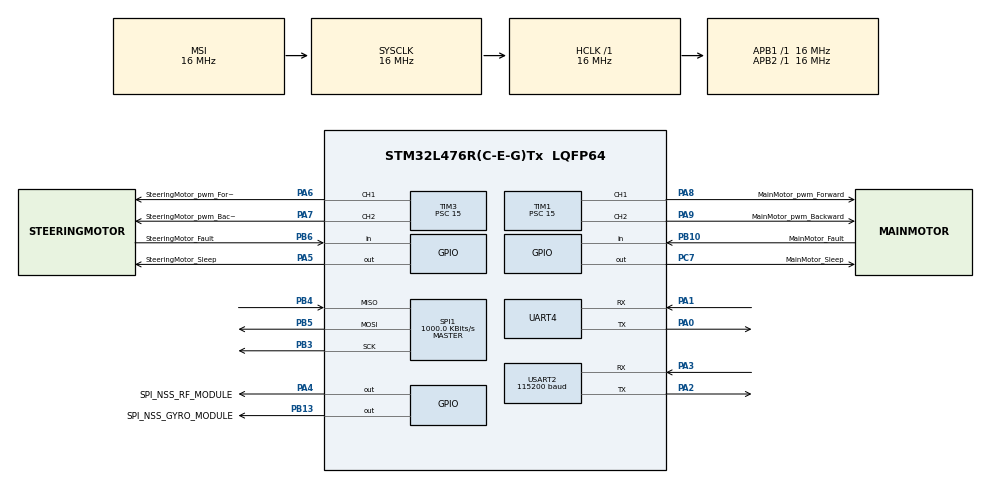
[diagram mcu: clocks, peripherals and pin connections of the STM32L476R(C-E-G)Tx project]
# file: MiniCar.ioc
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Mcu.Family=STM32L4
Mcu.Name=STM32L476R(C-E-G)Tx
Mcu.Package=LQFP64
NVIC.PriorityGroup=NVIC_PRIORITYGROUP_4
NVIC.SPI1_IRQn=true\:0\:0\:false\:false\:true\:true\:true\:true
NVIC.TIM2_IRQn=true\:0\:0\:false\:false\:true\:true\:true\:true
PA0.Mode=Asynchronous
PA0.Signal=UART4_TX
PA1.Mode=Asynchronous
PA1.Signal=UART4_RX
PA2.Mode=Asynchronous
PA2.Signal=USART2_TX
PA3.Mode=Asynchronous
PA3.Signal=USART2_RX
PA4.GPIO_Label=SPI_NSS_RF_MODULE
PA4.PinState=GPIO_PIN_SET
PA4.Signal=GPIO_Output
PA5.GPIO_Label=SteeringMotor_Sleep
PA5.Signal=GPIO_Output
PA6.GPIO_Label=SteeringMotor_pwm_Forward
PA6.Signal=S_TIM3_CH1
PA7.GPIO_Label=SteeringMotor_pwm_Backward
PA7.Signal=S_TIM3_CH2
PA8.GPIO_Label=MainMotor_pwm_Forward
PA8.Signal=S_TIM1_CH1
PA9.GPIO_Label=MainMotor_pwm_Backward
PA9.Signal=S_TIM1_CH2
PB10.GPIO_Label=MainMotor_Fault
PB10.Signal=GPIO_Input
PB13.GPIO_Label=SPI_NSS_GYRO_MODULE
PB13.PinState=GPIO_PIN_SET
PB13.Signal=GPIO_Output
PB3\ (JTDO-TRACESWO).GPIO_PuPd=GPIO_NOPULL
PB3\ (JTDO-TRACESWO).Mode=Full_Duplex_Master
PB3\ (JTDO-TRACESWO).Signal=SPI1_SCK
PB4\ (NJTRST).Mode=Full_Duplex_Master
PB4\ (NJTRST).Signal=SPI1_MISO
PB5.Mode=Full_Duplex_Master
PB5.Signal=SPI1_MOSI
PB6.GPIO_Label=SteeringMotor_Fault
PB6.Signal=GPIO_Input
PC7.GPIO_Label=MainMotor_Sleep
PC7.Signal=GPIO_Output
ProjectManager.HeapSize=0x200
ProjectManager.StackSize=0x400
ProjectManager.TargetToolchain=STM32CubeIDE
RCC.ADCFreq_Value=64000000
RCC.AHBFreq_Value=16000000
RCC.APB1Freq_Value=16000000
RCC.APB1TimFreq_Value=16000000
RCC.APB2Freq_Value=16000000
RCC.APB2TimFreq_Value=16000000
RCC.CortexFreq_Value=16000000
RCC.HCLKFreq_Value=16000000
RCC.HSE_VALUE=8000000
RCC.HSI_VALUE=16000000
RCC.LSE_VALUE=32768
RCC.MSIClockRange=RCC_MSIRANGE_8
RCC.MSI_VALUE=16000000
RCC.SYSCLKFreq_VALUE=16000000
RCC.USBFreq_Value=64000000
RCC.VCOOutputFreq_Value=128000000
SH.S_TIM1_CH1.0=TIM1_CH1,PWM Generation1 CH1
SH.S_TIM1_CH2.0=TIM1_CH2,PWM Generation2 CH2
SH.S_TIM3_CH1.0=TIM3_CH1,PWM Generation1 CH1
SH.S_TIM3_CH2.0=TIM3_CH2,PWM Generation2 CH2
SPI1.BaudRatePrescaler=SPI_BAUDRATEPRESCALER_16
SPI1.CalculateBaudRate=1000.0 KBits/s
SPI1.DataSize=SPI_DATASIZE_8BIT
SPI1.Direction=SPI_DIRECTION_2LINES
SPI1.Mode=SPI_MODE_MASTER
SPI1.NSSPMode=SPI_NSS_PULSE_DISABLE
SPI1.TIMode=SPI_TIMODE_DISABLE
SPI1.VirtualType=VM_MASTER
TIM1.Channel-PWM\ Generation1\ CH1=TIM_CHANNEL_1
TIM1.Channel-PWM\ Generation2\ CH2=TIM_CHANNEL_2
TIM1.ClockDivision=TIM_CLOCKDIVISION_DIV1
TIM1.Period=100
TIM1.Prescaler=15
TIM2.ClockDivision=TIM_CLOCKDIVISION_DIV1
TIM2.Period=999
TIM2.Prescaler=63
TIM3.Channel-PWM\ Generation1\ CH1=TIM_CHANNEL_1
TIM3.Channel-PWM\ Generation2\ CH2=TIM_CHANNEL_2
TIM3.Period=100
TIM3.Prescaler=15
USART2.BaudRate=115200
USART2.VirtualMode-Asynchronous=VM_ASYNC
VP_CRC_VS_CRC.Mode=CRC_Activate
VP_TIM1_VS_ClockSourceINT.Mode=Internal
VP_TIM2_VS_ClockSourceINT.Mode=Internal
VP_TIM3_VS_ClockSourceINT.Mode=Internal
board=custom

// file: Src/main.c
/* USER CODE BEGIN Header */
/**
  ******************************************************************************
  * @file           : main.c
  * @brief          : Main program body
  ******************************************************************************
  * @attention
  *
  * Copyright (c) 2023 STMicroelectronics.
  * All rights reserved.
  *
  * This software is licensed under terms that can be found in the LICENSE file
  * in the root directory of this software component.
  * If no LICENSE file comes with this software, it is provided AS-IS.
  *
  ******************************************************************************
  */
/* USER CODE END Header */
#include "main.h"

/* USER CODE BEGIN Includes */
#include <nRF24l01_Handler.h>
#include "SPI_Handler.h"
#include "ioManager.h"
#include "MotorController.h"
#include "MPU_Handler.h"
#include "MotionProcessing.h"
/* USER CODE END Includes */

/* USER CODE BEGIN PD */

#define FALSE 0u
#define TRUE  1u
/* USER CODE END PD */

CRC_HandleTypeDef hcrc;

SPI_HandleTypeDef hspi1;

TIM_HandleTypeDef htim1;
TIM_HandleTypeDef htim2;
TIM_HandleTypeDef htim3;

UART_HandleTypeDef huart4;
UART_HandleTypeDef huart2;

void SystemClock_Config(void);
static void MX_GPIO_Init(void);
static void MX_TIM1_Init(void);
static void MX_TIM3_Init(void);
static void MX_CRC_Init(void);
static void MX_SPI1_Init(void);
static void MX_UART4_Init(void);
static void MX_TIM2_Init(void);
static void MX_USART2_UART_Init(void);

/* USER CODE BEGIN 0 */
uint16_t counter = 160;
uint8_t transmit_data = 0;
uint8_t receiveLen = 0;
volatile uint8_t receive_IT_flag = 0;
volatile uint8_t transmit_IT_flag = 0;
/* USER CODE END 0 */

int main(void)
{

  /* MCU Configuration--------------------------------------------------------*/

  /* Reset of all peripherals, Initializes the Flash interface and the Systick. */
  HAL_Init();

  /* USER CODE BEGIN Init */
  //HAL_GPIO_WritePin(NSS_REGISTER, NSS_PIN, SET);

  /* USER CODE END Init */

  /* Configure the system clock */
  SystemClock_Config();

  /* Initialize all configured peripherals */
  MX_GPIO_Init();
  MX_TIM1_Init();
  MX_TIM3_Init();
  MX_CRC_Init();
  MX_SPI1_Init();
  MX_UART4_Init();
  MX_TIM2_Init();
  MX_USART2_UART_Init();
  /* USER CODE BEGIN 2 */

  if (HAL_TIM_Base_Start_IT(&htim2) != HAL_OK) {
	  Error_Handler();
  }

  //MPU_Init();

  MC_Init(&htim1, &htim3);

  IO_StartPWM();

  RF_Setup();
  /* USER CODE END 2 */

  /* Infinite loop */
  /* USER CODE BEGIN WHILE */
  HAL_UART_Transmit(&huart2, (uint8_t *)"Hello there\n\r", 13, 200);
  while (1)
  {

	counter--;
	if (counter == 0) {
		RF_sendPayloadReadRequest();
		//MPU_sendPayloadReadRequest();
		counter = 1000;
		//MP_MotionProcessing();
		RF_transferMessageToUart(&huart2);
	}

	SPI_Cycle();
	//HAL_Delay(1);
    /* USER CODE END WHILE */

  }
}

void SystemClock_Config(void)
{
  RCC_OscInitTypeDef RCC_OscInitStruct = {0};
  RCC_ClkInitTypeDef RCC_ClkInitStruct = {0};

  /** Configure the main internal regulator output voltage
  */
  if (HAL_PWREx_ControlVoltageScaling(PWR_REGULATOR_VOLTAGE_SCALE1) != HAL_OK)
  {
    Error_Handler();
  }

  /** Initializes the RCC Oscillators according to the specified parameters
  * in the RCC_OscInitTypeDef structure.
  */
  RCC_OscInitStruct.OscillatorType = RCC_OSCILLATORTYPE_MSI;
  RCC_OscInitStruct.MSIState = RCC_MSI_ON;
  RCC_OscInitStruct.MSICalibrationValue = 0;
  RCC_OscInitStruct.MSIClockRange = RCC_MSIRANGE_8;
  RCC_OscInitStruct.PLL.PLLState = RCC_PLL_NONE;
  if (HAL_RCC_OscConfig(&RCC_OscInitStruct) != HAL_OK)
  {
    Error_Handler();
  }

  /** Initializes the CPU, AHB and APB buses clocks
  */
  RCC_ClkInitStruct.ClockType = RCC_CLOCKTYPE_HCLK|RCC_CLOCKTYPE_SYSCLK
                              |RCC_CLOCKTYPE_PCLK1|RCC_CLOCKTYPE_PCLK2;
  RCC_ClkInitStruct.SYSCLKSource = RCC_SYSCLKSOURCE_MSI;
  RCC_ClkInitStruct.AHBCLKDivider = RCC_SYSCLK_DIV1;
  RCC_ClkInitStruct.APB1CLKDivider = RCC_HCLK_DIV1;
  RCC_ClkInitStruct.APB2CLKDivider = RCC_HCLK_DIV1;

  if (HAL_RCC_ClockConfig(&RCC_ClkInitStruct, FLASH_LATENCY_0) != HAL_OK)
  {
    Error_Handler();
  }
}

static void MX_CRC_Init(void)
{

  hcrc.Instance = CRC;
  hcrc.Init.DefaultPolynomialUse = DEFAULT_POLYNOMIAL_ENABLE;
  hcrc.Init.DefaultInitValueUse = DEFAULT_INIT_VALUE_ENABLE;
  hcrc.Init.InputDataInversionMode = CRC_INPUTDATA_INVERSION_NONE;
  hcrc.Init.OutputDataInversionMode = CRC_OUTPUTDATA_INVERSION_DISABLE;
  hcrc.InputDataFormat = CRC_INPUTDATA_FORMAT_BYTES;
  if (HAL_CRC_Init(&hcrc) != HAL_OK)
  {
    Error_Handler();
  }

}

static void MX_SPI1_Init(void)
{

  /* SPI1 parameter configuration*/
  hspi1.Instance = SPI1;
  hspi1.Init.Mode = SPI_MODE_MASTER;
  hspi1.Init.Direction = SPI_DIRECTION_2LINES;
  hspi1.Init.DataSize = SPI_DATASIZE_8BIT;
  hspi1.Init.CLKPolarity = SPI_POLARITY_LOW;
  hspi1.Init.CLKPhase = SPI_PHASE_1EDGE;
  hspi1.Init.NSS = SPI_NSS_SOFT;
  hspi1.Init.BaudRatePrescaler = SPI_BAUDRATEPRESCALER_16;
  hspi1.Init.FirstBit = SPI_FIRSTBIT_MSB;
  hspi1.Init.TIMode = SPI_TIMODE_DISABLE;
  hspi1.Init.CRCCalculation = SPI_CRCCALCULATION_DISABLE;
  hspi1.Init.CRCPolynomial = 7;
  hspi1.Init.CRCLength = SPI_CRC_LENGTH_DATASIZE;
  hspi1.Init.NSSPMode = SPI_NSS_PULSE_DISABLE;
  if (HAL_SPI_Init(&hspi1) != HAL_OK)
  {
    Error_Handler();
  }
  /* USER CODE BEGIN SPI1_Init 2 */
  SPI_INIT(&hspi1);
  /* USER CODE END SPI1_Init 2 */

}

static void MX_TIM1_Init(void)
{

  TIM_ClockConfigTypeDef sClockSourceConfig = {0};
  TIM_MasterConfigTypeDef sMasterConfig = {0};
  TIM_OC_InitTypeDef sConfigOC = {0};
  TIM_BreakDeadTimeConfigTypeDef sBreakDeadTimeConfig = {0};

  htim1.Instance = TIM1;
  htim1.Init.Prescaler = 15;
  htim1.Init.CounterMode = TIM_COUNTERMODE_UP;
  htim1.Init.Period = 100;
  htim1.Init.ClockDivision = TIM_CLOCKDIVISION_DIV1;
  htim1.Init.RepetitionCounter = 0;
  htim1.Init.AutoReloadPreload = TIM_AUTORELOAD_PRELOAD_DISABLE;
  if (HAL_TIM_Base_Init(&htim1) != HAL_OK)
  {
    Error_Handler();
  }
  sClockSourceConfig.ClockSource = TIM_CLOCKSOURCE_INTERNAL;
  if (HAL_TIM_ConfigClockSource(&htim1, &sClockSourceConfig) != HAL_OK)
  {
    Error_Handler();
  }
  if (HAL_TIM_PWM_Init(&htim1) != HAL_OK)
  {
    Error_Handler();
  }
  sMasterConfig.MasterOutputTrigger = TIM_TRGO_RESET;
  sMasterConfig.MasterOutputTrigger2 = TIM_TRGO2_RESET;
  sMasterConfig.MasterSlaveMode = TIM_MASTERSLAVEMODE_DISABLE;
  if (HAL_TIMEx_MasterConfigSynchronization(&htim1, &sMasterConfig) != HAL_OK)
  {
    Error_Handler();
  }
  sConfigOC.OCMode = TIM_OCMODE_PWM1;
  sConfigOC.Pulse = 0;
  sConfigOC.OCPolarity = TIM_OCPOLARITY_HIGH;
  sConfigOC.OCNPolarity = TIM_OCNPOLARITY_HIGH;
  sConfigOC.OCFastMode = TIM_OCFAST_DISABLE;
  sConfigOC.OCIdleState = TIM_OCIDLESTATE_RESET;
  sConfigOC.OCNIdleState = TIM_OCNIDLESTATE_RESET;
  if (HAL_TIM_PWM_ConfigChannel(&htim1, &sConfigOC, TIM_CHANNEL_1) != HAL_OK)
  {
    Error_Handler();
  }
  if (HAL_TIM_PWM_ConfigChannel(&htim1, &sConfigOC, TIM_CHANNEL_2) != HAL_OK)
  {
    Error_Handler();
  }
  sBreakDeadTimeConfig.OffStateRunMode = TIM_OSSR_DISABLE;
  sBreakDeadTimeConfig.OffStateIDLEMode = TIM_OSSI_DISABLE;
  sBreakDeadTimeConfig.LockLevel = TIM_LOCKLEVEL_OFF;
  sBreakDeadTimeConfig.DeadTime = 0;
  sBreakDeadTimeConfig.BreakState = TIM_BREAK_DISABLE;
  sBreakDeadTimeConfig.BreakPolarity = TIM_BREAKPOLARITY_HIGH;
  sBreakDeadTimeConfig.BreakFilter = 0;
  sBreakDeadTimeConfig.Break2State = TIM_BREAK2_DISABLE;
  sBreakDeadTimeConfig.Break2Polarity = TIM_BREAK2POLARITY_HIGH;
  sBreakDeadTimeConfig.Break2Filter = 0;
  sBreakDeadTimeConfig.AutomaticOutput = TIM_AUTOMATICOUTPUT_DISABLE;
  if (HAL_TIMEx_ConfigBreakDeadTime(&htim1, &sBreakDeadTimeConfig) != HAL_OK)
  {
    Error_Handler();
  }
  HAL_TIM_MspPostInit(&htim1);

}

static void MX_TIM2_Init(void)
{

  TIM_ClockConfigTypeDef sClockSourceConfig = {0};
  TIM_MasterConfigTypeDef sMasterConfig = {0};

  htim2.Instance = TIM2;
  htim2.Init.Prescaler = 63;
  htim2.Init.CounterMode = TIM_COUNTERMODE_UP;
  htim2.Init.Period = 999;
  htim2.Init.ClockDivision = TIM_CLOCKDIVISION_DIV1;
  htim2.Init.AutoReloadPreload = TIM_AUTORELOAD_PRELOAD_DISABLE;
  if (HAL_TIM_Base_Init(&htim2) != HAL_OK)
  {
    Error_Handler();
  }
  sClockSourceConfig.ClockSource = TIM_CLOCKSOURCE_INTERNAL;
  if (HAL_TIM_ConfigClockSource(&htim2, &sClockSourceConfig) != HAL_OK)
  {
    Error_Handler();
  }
  sMasterConfig.MasterOutputTrigger = TIM_TRGO_RESET;
  sMasterConfig.MasterSlaveMode = TIM_MASTERSLAVEMODE_DISABLE;
  if (HAL_TIMEx_MasterConfigSynchronization(&htim2, &sMasterConfig) != HAL_OK)
  {
    Error_Handler();
  }

}

static void MX_TIM3_Init(void)
{

  TIM_ClockConfigTypeDef sClockSourceConfig = {0};
  TIM_MasterConfigTypeDef sMasterConfig = {0};
  TIM_OC_InitTypeDef sConfigOC = {0};

  htim3.Instance = TIM3;
  htim3.Init.Prescaler = 15;
  htim3.Init.CounterMode = TIM_COUNTERMODE_UP;
  htim3.Init.Period = 100;
  htim3.Init.ClockDivision = TIM_CLOCKDIVISION_DIV1;
  htim3.Init.AutoReloadPreload = TIM_AUTORELOAD_PRELOAD_DISABLE;
  if (HAL_TIM_Base_Init(&htim3) != HAL_OK)
  {
    Error_Handler();
  }
  sClockSourceConfig.ClockSource = TIM_CLOCKSOURCE_INTERNAL;
  if (HAL_TIM_ConfigClockSource(&htim3, &sClockSourceConfig) != HAL_OK)
  {
    Error_Handler();
  }
  if (HAL_TIM_PWM_Init(&htim3) != HAL_OK)
  {
    Error_Handler();
  }
  sMasterConfig.MasterOutputTrigger = TIM_TRGO_RESET;
  sMasterConfig.MasterSlaveMode = TIM_MASTERSLAVEMODE_DISABLE;
  if (HAL_TIMEx_MasterConfigSynchronization(&htim3, &sMasterConfig) != HAL_OK)
  {
    Error_Handler();
  }
  sConfigOC.OCMode = TIM_OCMODE_PWM1;
  sConfigOC.Pulse = 0;
  sConfigOC.OCPolarity = TIM_OCPOLARITY_HIGH;
  sConfigOC.OCFastMode = TIM_OCFAST_DISABLE;
  if (HAL_TIM_PWM_ConfigChannel(&htim3, &sConfigOC, TIM_CHANNEL_1) != HAL_OK)
  {
    Error_Handler();
  }
  if (HAL_TIM_PWM_ConfigChannel(&htim3, &sConfigOC, TIM_CHANNEL_2) != HAL_OK)
  {
    Error_Handler();
  }
  HAL_TIM_MspPostInit(&htim3);

}

static void MX_UART4_Init(void)
{

  huart4.Instance = UART4;
  huart4.Init.BaudRate = 115200;
  huart4.Init.WordLength = UART_WORDLENGTH_8B;
  huart4.Init.StopBits = UART_STOPBITS_1;
  huart4.Init.Parity = UART_PARITY_NONE;
  huart4.Init.Mode = UART_MODE_TX_RX;
  huart4.Init.HwFlowCtl = UART_HWCONTROL_NONE;
  huart4.Init.OverSampling = UART_OVERSAMPLING_16;
  huart4.Init.OneBitSampling = UART_ONE_BIT_SAMPLE_DISABLE;
  huart4.AdvancedInit.AdvFeatureInit = UART_ADVFEATURE_NO_INIT;
  if (HAL_UART_Init(&huart4) != HAL_OK)
  {
    Error_Handler();
  }

}

static void MX_USART2_UART_Init(void)
{

  huart2.Instance = USART2;
  huart2.Init.BaudRate = 115200;
  huart2.Init.WordLength = UART_WORDLENGTH_8B;
  huart2.Init.StopBits = UART_STOPBITS_1;
  huart2.Init.Parity = UART_PARITY_NONE;
  huart2.Init.Mode = UART_MODE_TX_RX;
  huart2.Init.HwFlowCtl = UART_HWCONTROL_NONE;
  huart2.Init.OverSampling = UART_OVERSAMPLING_16;
  huart2.Init.OneBitSampling = UART_ONE_BIT_SAMPLE_DISABLE;
  huart2.AdvancedInit.AdvFeatureInit = UART_ADVFEATURE_NO_INIT;
  if (HAL_UART_Init(&huart2) != HAL_OK)
  {
    Error_Handler();
  }

}

static void MX_GPIO_Init(void)
{
  GPIO_InitTypeDef GPIO_InitStruct = {0};

  /* GPIO Ports Clock Enable */
  __HAL_RCC_GPIOA_CLK_ENABLE();
  __HAL_RCC_GPIOB_CLK_ENABLE();
  __HAL_RCC_GPIOC_CLK_ENABLE();

  /*Configure GPIO pin Output Level */
  HAL_GPIO_WritePin(SPI_NSS_RF_MODULE_GPIO_Port, SPI_NSS_RF_MODULE_Pin, GPIO_PIN_SET);

  /*Configure GPIO pin Output Level */
  HAL_GPIO_WritePin(SteeringMotor_Sleep_GPIO_Port, SteeringMotor_Sleep_Pin, GPIO_PIN_RESET);

  /*Configure GPIO pin Output Level */
  HAL_GPIO_WritePin(SPI_NSS_GYRO_MODULE_GPIO_Port, SPI_NSS_GYRO_MODULE_Pin, GPIO_PIN_SET);

  /*Configure GPIO pin Output Level */
  HAL_GPIO_WritePin(MainMotor_Sleep_GPIO_Port, MainMotor_Sleep_Pin, GPIO_PIN_RESET);

  /*Configure GPIO pins : SPI_NSS_RF_MODULE_Pin SteeringMotor_Sleep_Pin */
  GPIO_InitStruct.Pin = SPI_NSS_RF_MODULE_Pin|SteeringMotor_Sleep_Pin;
  GPIO_InitStruct.Mode = GPIO_MODE_OUTPUT_PP;
  GPIO_InitStruct.Pull = GPIO_NOPULL;
  GPIO_InitStruct.Speed = GPIO_SPEED_FREQ_LOW;
  HAL_GPIO_Init(GPIOA, &GPIO_InitStruct);

  /*Configure GPIO pins : MainMotor_Fault_Pin SteeringMotor_Fault_Pin */
  GPIO_InitStruct.Pin = MainMotor_Fault_Pin|SteeringMotor_Fault_Pin;
  GPIO_InitStruct.Mode = GPIO_MODE_INPUT;
  GPIO_InitStruct.Pull = GPIO_NOPULL;
  HAL_GPIO_Init(GPIOB, &GPIO_InitStruct);

  /*Configure GPIO pin : SPI_NSS_GYRO_MODULE_Pin */
  GPIO_InitStruct.Pin = SPI_NSS_GYRO_MODULE_Pin;
  GPIO_InitStruct.Mode = GPIO_MODE_OUTPUT_PP;
  GPIO_InitStruct.Pull = GPIO_NOPULL;
  GPIO_InitStruct.Speed = GPIO_SPEED_FREQ_LOW;
  HAL_GPIO_Init(SPI_NSS_GYRO_MODULE_GPIO_Port, &GPIO_InitStruct);

  /*Configure GPIO pin : MainMotor_Sleep_Pin */
  GPIO_InitStruct.Pin = MainMotor_Sleep_Pin;
  GPIO_InitStruct.Mode = GPIO_MODE_OUTPUT_PP;
  GPIO_InitStruct.Pull = GPIO_NOPULL;
  GPIO_InitStruct.Speed = GPIO_SPEED_FREQ_LOW;
  HAL_GPIO_Init(MainMotor_Sleep_GPIO_Port, &GPIO_InitStruct);

}

void Error_Handler(void)
{
  __disable_irq();
  while (1)
  {
  }
}
